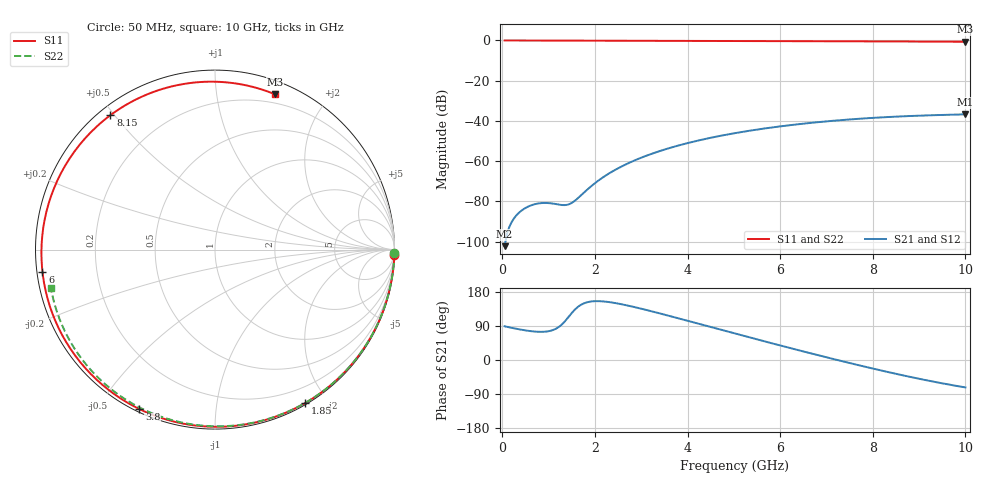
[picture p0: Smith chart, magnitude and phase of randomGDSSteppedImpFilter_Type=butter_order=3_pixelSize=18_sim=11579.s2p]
! freq	dB(S11)	phase(S11)	dB(S12)	phase(S12)
!  dB(S21)	phase(S21)	dB(S22)	phase(S22)
!S-par simulation data
#  GHz  S  DB  R 50
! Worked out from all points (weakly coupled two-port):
!   200 points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, 50 MHz to 10 GHz, reference 50 ohm
!   highest |S21| = -36.74 dB at 10 GHz (marker M1); lowest = -102.2 dB at 50 MHz (marker M2)
!   lowest |S11| = -0.7 dB at 10 GHz (marker M3), VSWR 26.60, Z = 5.87 + j72.7 ohm
!   |S11| at or under -10 dB: nowhere
!   |S22| runs from -0.5 to 0.0 dB; largest |S21 - S12| = 0
!   S11 on the Smith chart (normalised r, x): 50 MHz: 0, -69; 1.85 GHz: 0.02, -1.75; 3.8 GHz: 0.01, -0.63; 6 GHz: 0.02, -0.06; 8.15 GHz: 0.03, +0.49; 10 GHz: 0.12, +1.45
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0.05  -0.00 -1.7  -102.23 88.9  -102.23 88.9  -0.00 -1.0
0.75  -0.03 -24.7  -81.13 74.6  -81.13 74.6  -0.02 -14.5
1.55  -0.06 -50.2  -79.96 130.8  -79.96 130.8  -0.04 -29.8
1.75  -0.07 -56.4  -75.89 148.8  -75.89 148.8  -0.04 -33.5
1.85  -0.07 -59.5  -73.81 152.9  -73.81 152.9  -0.04 -35.4
2.15  -0.08 -68.6  -68.41 154.9  -68.41 154.9  -0.05 -41.0
2.5  -0.10 -78.9  -63.53 148.9  -63.53 148.9  -0.06 -47.4
2.9  -0.11 -90.5  -59.20 138.3  -59.20 138.3  -0.07 -54.6
3.4  -0.13 -104.4  -54.97 123.0  -54.97 123.0  -0.08 -63.4
3.8  -0.15 -115.3  -52.22 110.1  -52.22 110.1  -0.10 -70.3
4.45  -0.18 -132.6  -48.61 88.7  -48.61 88.7  -0.12 -81.3
5.05  -0.21 -148.2  -45.96 69.0  -45.96 69.0  -0.14 -91.1
5.55  -0.24 -161.1  -44.12 52.8  -44.12 52.8  -0.16 -99.1
6  -0.27 -172.8  -42.70 38.4  -42.70 38.4  -0.18 -106.2
6.7  -0.33 168.8  -40.87 16.4  -40.87 16.4  -0.23 -116.9
7.4  -0.39 149.6  -39.43 -5.0  -39.43 -5.0  -0.28 -127.5
8.15  -0.46 127.9  -38.27 -26.8  -38.27 -26.8  -0.34 -138.7
8.35  -0.48 121.9  -38.03 -32.4  -38.03 -32.4  -0.36 -141.7
8.8  -0.52 108.0  -37.55 -44.4  -37.55 -44.4  -0.40 -148.4
9.2  -0.56 95.3  -37.22 -54.5  -37.22 -54.5  -0.45 -154.5
9.6  -0.61 82.2  -36.95 -63.8  -36.95 -63.8  -0.50 -160.6
10  -0.65 68.8  -36.74 -72.4  -36.74 -72.4  -0.55 -166.8
